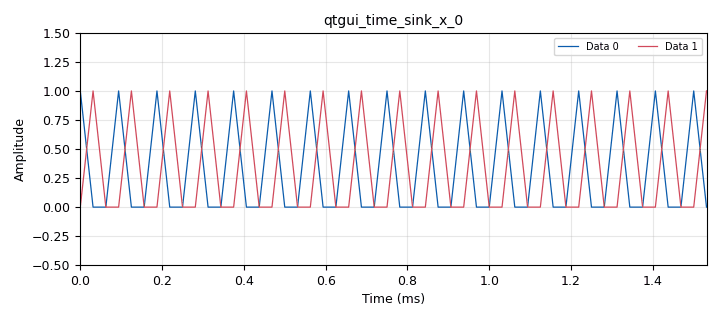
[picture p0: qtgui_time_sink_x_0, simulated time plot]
<?xml version='1.0' encoding='utf-8'?>
<?grc format='1' created='3.7.7'?>
<flow_graph>
<block>
<key>blocks_throttle</key>
<param><key>id</key><value>blocks_throttle_0</value></param>
<param><key>type</key><value>float</value></param>
<param><key>samples_per_second</key><value>samp_rate</value></param>
</block>
<block>
<key>variable</key>
<param><key>id</key><value>samp_rate</value></param>
<param><key>value</key><value>32000</value></param>
</block>
<block>
<key>blocks_stream_to_vector</key>
<param><key>id</key><value>blocks_stream_to_vector_0</value></param>
<param><key>type</key><value>float</value></param>
<param><key>num_items</key><value>3</value></param>
</block>
<block>
<key>blocks_argmax_xx</key>
<param><key>id</key><value>blocks_argmax_xx_0</value></param>
<param><key>type</key><value>float</value></param>
<param><key>vlen</key><value>3</value></param>
</block>
<block>
<key>blocks_stream_to_vector</key>
<param><key>id</key><value>blocks_stream_to_vector_0_0</value></param>
<param><key>type</key><value>float</value></param>
<param><key>num_items</key><value>3</value></param>
</block>
<block>
<key>blocks_short_to_float</key>
<param><key>id</key><value>blocks_short_to_float_0</value></param>
<param><key>scale</key><value>1</value></param>
</block>
<block>
<key>blocks_short_to_float</key>
<param><key>id</key><value>blocks_short_to_float_0_0</value></param>
<param><key>scale</key><value>1</value></param>
</block>
<block>
<key>qtgui_time_sink_x</key>
<param><key>id</key><value>qtgui_time_sink_x_0</value></param>
<param><key>type</key><value>float</value></param>
<param><key>name</key><value></value></param>
<param><key>size</key><value>50</value></param>
<param><key>srate</key><value>samp_rate</value></param>
<param><key>ymin</key><value>-0.5</value></param>
<param><key>ymax</key><value>1.5</value></param>
<param><key>nconnections</key><value>2</value></param>
<param><key>label1</key><value></value></param>
<param><key>color1</key><value>"blue"</value></param>
<param><key>label2</key><value></value></param>
<param><key>color2</key><value>"red"</value></param>
</block>
<block>
<key>options</key>
<param><key>id</key><value>blocks_argmax</value></param>
<param><key>generate_options</key><value>qt_gui</value></param>
<param><key>category</key><value>Custom</value></param>
</block>
<block>
<key>blocks_vector_source_x</key>
<param><key>id</key><value>blocks_vector_source_x_0_0</value></param>
<param><key>type</key><value>float</value></param>
<param><key>vector</key><value>[0, 1, 0, 0, 0, 0, 0, 0, 0]</value></param>
<param><key>repeat</key><value>True</value></param>
</block>
<block>
<key>blocks_vector_source_x</key>
<param><key>id</key><value>blocks_vector_source_x_0</value></param>
<param><key>type</key><value>float</value></param>
<param><key>vector</key><value>[0, 0, 0, 1, 0, 0, 0, 0, 0]</value></param>
<param><key>repeat</key><value>True</value></param>
</block>
<connection><source_block_id>blocks_throttle_0</source_block_id><sink_block_id>blocks_stream_to_vector_0</sink_block_id><source_key>0</source_key><sink_key>0</sink_key></connection>
<connection><source_block_id>blocks_stream_to_vector_0</source_block_id><sink_block_id>blocks_argmax_xx_0</sink_block_id><source_key>0</source_key><sink_key>0</sink_key></connection>
<connection><source_block_id>blocks_stream_to_vector_0_0</source_block_id><sink_block_id>blocks_argmax_xx_0</sink_block_id><source_key>0</source_key><sink_key>1</sink_key></connection>
<connection><source_block_id>blocks_argmax_xx_0</source_block_id><sink_block_id>blocks_short_to_float_0</sink_block_id><source_key>0</source_key><sink_key>0</sink_key></connection>
<connection><source_block_id>blocks_argmax_xx_0</source_block_id><sink_block_id>blocks_short_to_float_0_0</sink_block_id><source_key>1</source_key><sink_key>0</sink_key></connection>
<connection><source_block_id>blocks_short_to_float_0</source_block_id><sink_block_id>qtgui_time_sink_x_0</sink_block_id><source_key>0</source_key><sink_key>0</sink_key></connection>
<connection><source_block_id>blocks_short_to_float_0_0</source_block_id><sink_block_id>qtgui_time_sink_x_0</sink_block_id><source_key>0</source_key><sink_key>1</sink_key></connection>
<connection><source_block_id>blocks_vector_source_x_0_0</source_block_id><sink_block_id>blocks_throttle_0</sink_block_id><source_key>0</source_key><sink_key>0</sink_key></connection>
<connection><source_block_id>blocks_vector_source_x_0</source_block_id><sink_block_id>blocks_stream_to_vector_0_0</sink_block_id><source_key>0</source_key><sink_key>0</sink_key></connection>
</flow_graph>
